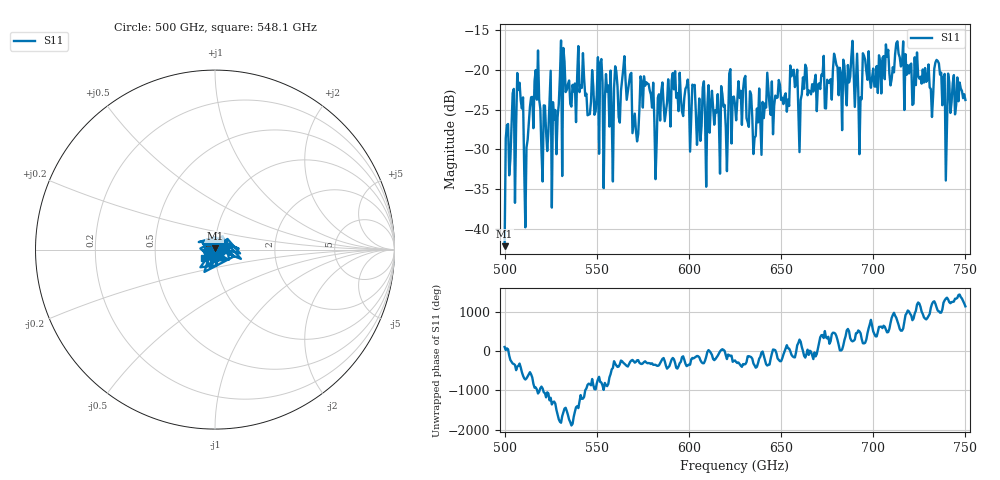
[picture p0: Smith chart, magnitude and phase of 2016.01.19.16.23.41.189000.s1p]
!Created with skrf (http://scikit-rf.org).
# GHz S RI R 50.0
!freq ReS11 ImS11
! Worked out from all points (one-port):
!   401 points, 500 GHz to 750 GHz, reference 50 ohm
!   lowest |S11| = -42.2 dB at 500 GHz (marker M1), VSWR 1.02, Z = 49.8 + j0.76 ohm
!   |S11| at or under -10 dB: start of sweep to end of sweep
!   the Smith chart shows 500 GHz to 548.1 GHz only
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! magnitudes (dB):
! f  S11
! 500 GHz  -42.2
! 501.9 GHz  -26.8
! 508.1 GHz  -21.6
! 511.9 GHz  -29.8
! 517.5 GHz  -23.8
! 520 GHz  -30.2
! 526.9 GHz  -26.2
! 531.2 GHz  -33.4
! 562.5 GHz  -26.6
! 567.5 GHz  -21.6
! 571.2 GHz  -27.6
! 576.9 GHz  -21.6
! 583.1 GHz  -23.5
! 593.8 GHz  -23.0
! 605.6 GHz  -23.6
! 625 GHz  -24.3
! 636.2 GHz  -28.3
! 656.2 GHz  -20.1
! 660.6 GHz  -23.8
! 662.5 GHz  -22.4
! 687.5 GHz  -20.9
! 692.5 GHz  -30.6
! 695.6 GHz  -18.7
! 718.8 GHz  -19.4
! 731.9 GHz  -25.9
! 735 GHz  -18.9
! 740.6 GHz  -20.5
! 750 GHz  -23.8
